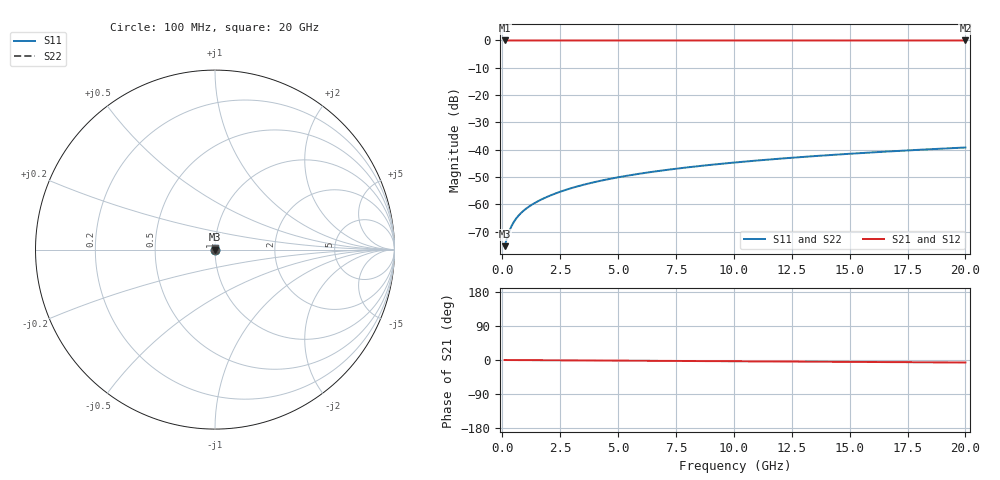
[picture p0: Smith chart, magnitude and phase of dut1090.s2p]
! Touchstone file exported from HFSS 2026.1.0
!  File:  C:/ffzhzh/LocalFiles/Ansys_Project_Files/temp_train_TSV_1090_1783190301_51560.aedt
!  Generated:  02:39:55 AM Jul  5, 2026
!  Design:  TSV
!  Project:  temp_train_TSV_1090_1783190301_51560
! Variables:
!  h_bsmrdl = 2um
!  h_ox = 20um
!  h_rdl = 5um
!  h_sub = 64.83um
!  h_tmrdl = 5um
!  h_tsv = 64.83um
!  h_via = 3um
!  l_bsmrdl = 300um
!  l_sub = 416.76um
!  l_tmrdl = 200um
!  m_sub = 200um
!  pitch = 37.57um
!  r_tsv = 8.38um
!  s_tmrdl = 10um
!  w_bsmrdl = 18um
!  w_sub = 500um
!  w_tmrdl = 12um
!  x_tsv_center1 = 206um
!  x_tsv_center2 = 524um
!  x_tsv_center3 = 736um
!  x_tsv_center4 = 1054um
!  x_tsv_center5 = 1266um
!  x_tsv_center6 = 1584um
# GHz S MA R 50.000000
! Terminal data exported
! Port[1] = TSV1_1_T1
! Port[2] = TSV1_1_T2
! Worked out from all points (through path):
!   200 points, 100 MHz to 20 GHz, reference 50 ohm
!   highest |S21| = 0.00 dB at 100 MHz (marker M1); lowest = 0.0 dB at 20 GHz (marker M2)
!   lowest |S11| = -75.3 dB at 100 MHz (marker M3), VSWR 1.00, Z = 50 + j0.0093 ohm
!   |S11| at or under -10 dB: start of sweep to end of sweep
!   |S22| runs from -75.3 to -39.2 dB; largest |S21 - S12| = 6.5e-15
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0.1  0.0001708 33.0  0.9999 -0.0  0.9999 -0.0  0.0001708 33.0
! Gamma 0 0 0 0
! Port Impedance 50 0 50 0
0.2  0.0002395 50.0  0.9998 -0.1  0.9998 -0.1  0.0002395 50.0
0.3  0.0003189 57.8  0.9998 -0.1  0.9998 -0.1  0.0003189 57.8
0.4  0.0003987 61.6  0.9998 -0.1  0.9998 -0.1  0.0003987 61.6
0.5  0.0004759 63.8  0.9998 -0.2  0.9998 -0.2  0.0004759 63.8
0.6  0.0005494 65.1  0.9998 -0.2  0.9998 -0.2  0.0005494 65.1
0.7  0.0006194 66.0  0.9998 -0.2  0.9998 -0.2  0.0006194 66.0
0.8  0.0006864 66.8  0.9997 -0.3  0.9997 -0.3  0.0006864 66.8
1  0.0008137 68.0  0.9997 -0.3  0.9997 -0.3  0.0008137 68.0
1.4  0.001054 70.2  0.9996 -0.5  0.9996 -0.5  0.001054 70.2
1.7  0.00123 71.5  0.9996 -0.6  0.9996 -0.6  0.00123 71.5
2  0.001405 72.6  0.9996 -0.7  0.9996 -0.7  0.001405 72.6
2.7  0.001812 74.5  0.9995 -0.9  0.9995 -0.9  0.001812 74.5
3.5  0.002272 75.7  0.9995 -1.2  0.9995 -1.2  0.002272 75.7
4.2  0.00267 76.4  0.9994 -1.4  0.9994 -1.4  0.00267 76.4
5  0.003117 76.9  0.9994 -1.7  0.9994 -1.7  0.003117 76.9
6.8  0.0041 77.5  0.9993 -2.3  0.9993 -2.3  0.0041 77.5
8.3  0.004902 77.8  0.9992 -2.8  0.9992 -2.8  0.004902 77.8
10.1  0.005853 78.0  0.9991 -3.4  0.9991 -3.4  0.005853 78.0
13.4  0.007578 77.9  0.999 -4.4  0.999 -4.4  0.007578 77.9
16.7  0.009282 77.5  0.9988 -5.5  0.9988 -5.5  0.009282 77.5
20  0.01096 76.8  0.9987 -6.6  0.9987 -6.6  0.01096 76.8
